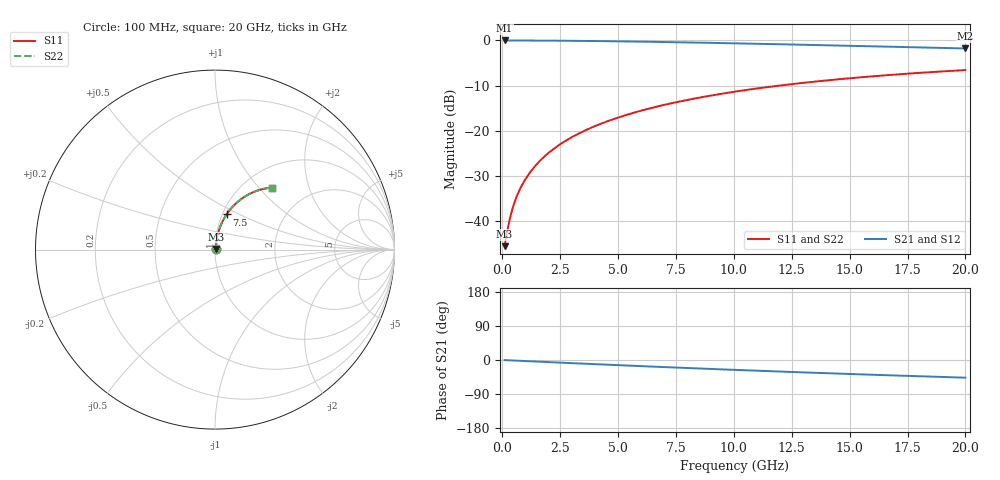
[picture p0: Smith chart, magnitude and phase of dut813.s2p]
! Touchstone file exported from HFSS 2024.1.0
!  File:  C:/UserFiles/LocalFiles/RDL_TSV_Batchsim/temp_RDL_bottom_813_1779862454.aedt
!  Generated:  02:16:43 PM May 27, 2026
!  Design:  RDL_bottom
!  Project:  temp_RDL_bottom_813_1779862454
!  Setup:  Setup1
!  Solution:  Sweep
! Variables:
!  dtsv = 10.80580581um
!  hbump = 3um
!  htsv = 77.82um
!  ldown = 662.21um
!  lrdl = 100um
!  p = 40
!  p1 = 43.17um
!  rhole = 1um
!  t = 450um
!  tdown = 4.03um
!  trdl = 3.915915916um
!  wdown = 13.5um
!  wrdl = 20um
# GHz S MA R 50.000000
! Terminal data exported
! Port[1] = RDL1_T1
! Port[2] = RDL1_T2
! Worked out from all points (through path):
!   200 points, 100 MHz to 20 GHz, reference 50 ohm
!   highest |S21| = -0.04 dB at 100 MHz (marker M1); lowest = -1.8 dB at 20 GHz (marker M2)
!   group delay of S21, straight-line fit = 6.47 ps
!   lowest |S11| = -45.5 dB at 100 MHz (marker M3), VSWR 1.01, Z = 50.4 + j0.3 ohm
!   |S11| at or under -10 dB: start of sweep to 12 GHz
!   |S22| runs from -45.5 to -6.6 dB; largest |S21 - S12| = 3.4e-15
!   S11 on the Smith chart (normalised r, x): 100 MHz: 1.01, +0.01; 7.5 GHz: 1.05, +0.43; 20 GHz: 1.33, +1.18
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0.1  0.005295 34.2  0.9956 -0.3  0.9956 -0.3  0.005295 34.2
! Gamma 0 0 0 0
! Port Impedance 50 0 50 0
0.2  0.007435 52.8  0.9955 -0.6  0.9955 -0.6  0.007435 52.8
0.3  0.009983 62.2  0.9953 -0.9  0.9953 -0.9  0.009983 62.2
0.4  0.01266 67.5  0.9952 -1.1  0.9952 -1.1  0.01266 67.5
0.5  0.01538 70.8  0.995 -1.4  0.995 -1.4  0.01538 70.8
0.6  0.01812 73.1  0.9948 -1.7  0.9948 -1.7  0.01812 73.1
0.8  0.02362 76.0  0.9945 -2.2  0.9945 -2.2  0.02362 76.0
1.1  0.0319 78.3  0.9939 -3.1  0.9939 -3.1  0.03191 78.3
1.5  0.04301 79.7  0.9929 -4.2  0.9929 -4.2  0.04301 79.7
1.8  0.05136 80.1  0.9919 -5.0  0.9919 -5.0  0.05136 80.1
2.1  0.05972 80.2  0.9909 -5.8  0.9909 -5.8  0.05972 80.2
2.7  0.07644 80.0  0.9883 -7.5  0.9883 -7.5  0.07644 80.0
3.5  0.09865 79.1  0.9841 -9.6  0.9841 -9.6  0.09864 79.1
4.2  0.118 78.0  0.9797 -11.5  0.9797 -11.5  0.118 78.0
5  0.1398 76.7  0.9739 -13.6  0.9739 -13.6  0.1398 76.6
5.9  0.1642 75.0  0.9666 -16.0  0.9666 -16.0  0.1641 75.0
6.8  0.1881 73.2  0.9587 -18.2  0.9587 -18.2  0.1881 73.2
7.5  0.2064 71.8  0.952 -20.0  0.952 -20.0  0.2064 71.8
10.1  0.2718 66.6  0.9251 -26.2  0.9251 -26.2  0.2717 66.5
13.4  0.3472 59.9  0.8878 -33.6  0.8878 -33.6  0.3471 59.9
16.7  0.4129 53.5  0.8494 -40.4  0.8494 -40.4  0.4128 53.5
20  0.4685 47.5  0.8119 -46.6  0.8119 -46.6  0.4683 47.5
